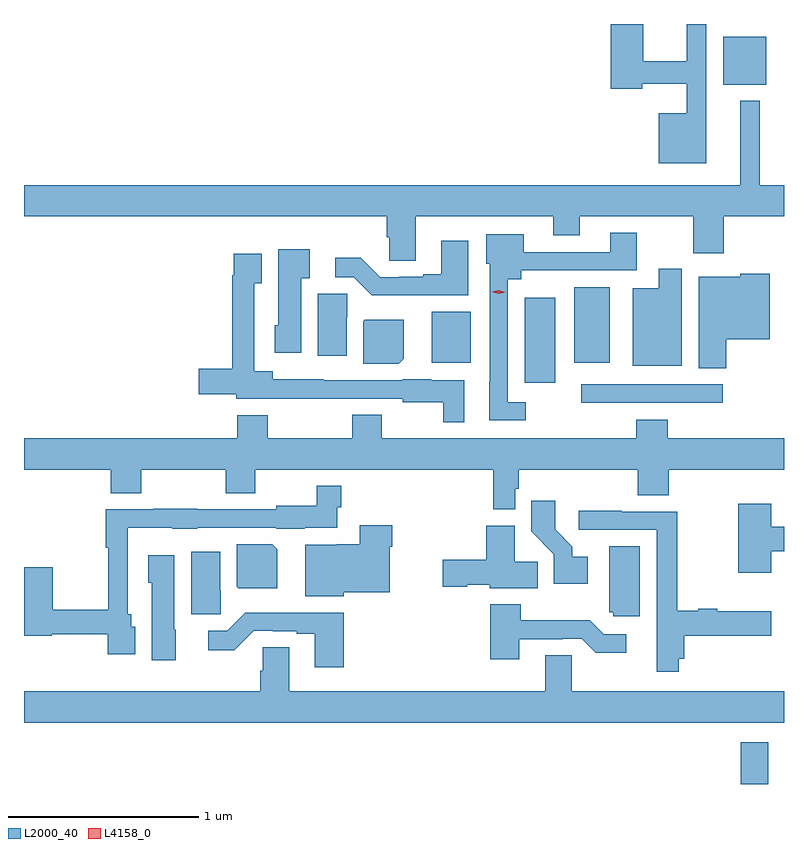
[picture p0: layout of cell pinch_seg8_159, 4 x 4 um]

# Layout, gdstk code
import gdstk
lib = gdstk.Library(unit=1e-6, precision=1e-09)
def R(c, l, rs):  # rectangles x0, y0, x1, y1
    for r in rs: c.add(gdstk.rectangle(r[:2], r[2:], *l))
def P(c, l, *ps):  # polygons
    for p in ps: c.add(gdstk.Polygon(p, *l))
L2000_40 = (2000, 40)
L4158_0 = (4158, 0)

pinch_seg8_159 = lib.new_cell('pinch_seg8_159')
R(pinch_seg8_159, L2000_40, [(726.788,1140.153,726.934,1140.373), (725.949,1142.16,726.694,1142.256), (725.651,1142.265,725.812,1142.713), (725.162,1142.369,725.368,1142.638), (725.912,1142.369,726.1,1142.767), (726.695,1143.833,726.922,1144.087)])
P(pinch_seg8_159, L2000_40, [(726.607,1144.153),(726.503,1144.153),(726.503,1143.956),(726.274,1143.956),(726.274,1144.153),(726.104,1144.153),(726.104,1143.812),(726.27,1143.812),(726.27,1143.839),(726.503,1143.839),(726.503,1143.682),(726.356,1143.682),(726.356,1143.419),(726.607,1143.419)],
  [(723.016,1143.14),(724.925,1143.14),(724.925,1143.03),(724.938,1143.03),(724.938,1142.908),(725.077,1142.908),(725.077,1143.14),(725.801,1143.14),(725.801,1143.041),(725.941,1143.041),(725.941,1143.14),(726.538,1143.14),(726.538,1142.946),(726.698,1142.946),(726.698,1143.14),(727.016,1143.14),(727.016,1143.304),(726.889,1143.304),(726.889,1143.748),(726.785,1143.748),(726.785,1143.304),(723.016,1143.304)],
  [(725.656,1142.163),(725.562,1142.163),(725.562,1142.81),(725.632,1142.81),(725.632,1142.856),(726.241,1142.856),(726.241,1143.055),(726.101,1143.055),(726.101,1142.952),(725.647,1142.952),(725.647,1143.046),(725.45,1143.046),(725.45,1142.892),(725.466,1142.892),(725.466,1142.27),(725.465,1142.27),(725.465,1142.067),(725.656,1142.067)],
  [(725.353,1143.013),(725.213,1143.013),(725.213,1142.836),(725.117,1142.836),(725.117,1142.823),(724.99,1142.823),(724.99,1142.82),(724.89,1142.82),(724.788,1142.923),(724.653,1142.923),(724.653,1142.82),(724.752,1142.82),(724.847,1142.726),(725.353,1142.726)],
  [(724.474,1142.814),(724.519,1142.814),(724.519,1142.968),(724.355,1142.968),(724.355,1142.568),(724.337,1142.568),(724.337,1142.424),(724.474,1142.424)],
  [(725.332,1142.278),(725.16,1142.278),(725.16,1142.284),(725.01,1142.284),(725.01,1142.277),(724.593,1142.277),(724.593,1142.284),(724.324,1142.284),(724.324,1142.326),(724.227,1142.326),(724.227,1142.788),(724.267,1142.788),(724.267,1142.944),(724.119,1142.944),(724.119,1142.831),(724.111,1142.831),(724.111,1142.339),(723.936,1142.339),(723.936,1142.204),(724.134,1142.204),(724.134,1142.181),(724.361,1142.181),(724.361,1142.18),(724.593,1142.18),(724.593,1142.181),(725.01,1142.181),(725.01,1142.162),(725.223,1142.162),(725.223,1142.057),(725.332,1142.057)],
  [(726.478,1142.866),(726.356,1142.866),(726.356,1142.761),(726.221,1142.761),(726.221,1142.354),(726.478,1142.354)],
  [(726.713,1142.495),(726.94,1142.495),(726.94,1142.839),(726.786,1142.839),(726.786,1142.824),(726.566,1142.824),(726.566,1142.341),(726.713,1142.341)],
  [(724.714,1142.61),(724.718,1142.61),(724.718,1142.733),(724.562,1142.733),(724.562,1142.406),(724.714,1142.406)],
  [(725.014,1142.392),(725.014,1142.596),(724.81,1142.596),(724.802,1142.588),(724.802,1142.366),(724.988,1142.366)],
  [(725.601,1141.707),(725.621,1141.707),(725.621,1141.808),(726.245,1141.808),(726.245,1141.672),(726.41,1141.672),(726.41,1141.808),(727.016,1141.808),(727.016,1141.972),(726.404,1141.972),(726.404,1142.071),(726.239,1142.071),(726.239,1141.972),(724.899,1141.972),(724.899,1142.096),(724.744,1142.096),(724.744,1141.972),(724.299,1141.972),(724.299,1142.095),(724.139,1142.095),(724.139,1141.972),(723.016,1141.972),(723.016,1141.808),(723.473,1141.808),(723.473,1141.684),(723.633,1141.684),(723.633,1141.808),(724.078,1141.808),(724.078,1141.684),(724.233,1141.684),(724.233,1141.808),(725.485,1141.808),(725.485,1141.598),(725.601,1141.598)],
  [(723.601,1140.981),(723.58,1140.981),(723.58,1141.047),(723.561,1141.047),(723.561,1141.502),(723.795,1141.502),(723.795,1141.496),(723.927,1141.496),(723.927,1141.503),(724.344,1141.503),(724.344,1141.496),(724.494,1141.496),(724.494,1141.502),(724.665,1141.502),(724.665,1141.61),(724.685,1141.61),(724.685,1141.723),(724.557,1141.723),(724.557,1141.618),(724.344,1141.618),(724.344,1141.599),(723.927,1141.599),(723.927,1141.601),(723.695,1141.601),(723.695,1141.599),(723.445,1141.599),(723.445,1141.396),(723.46,1141.396),(723.46,1141.07),(723.166,1141.07),(723.166,1141.294),(723.016,1141.294),(723.016,1140.934),(723.162,1140.934),(723.162,1140.942),(723.457,1140.942),(723.457,1140.837),(723.601,1140.837)],
  [(725.983,1141.348),(725.902,1141.348),(725.902,1141.403),(725.812,1141.493),(725.812,1141.645),(725.686,1141.645),(725.686,1141.482),(725.805,1141.363),(725.805,1141.208),(725.983,1141.208)],
  [(726.948,1141.378),(727.016,1141.378),(727.016,1141.507),(726.948,1141.507),(726.948,1141.627),(726.775,1141.627),(726.775,1141.266),(726.948,1141.266)],
  [(726.461,1140.812),(726.491,1140.812),(726.491,1140.934),(726.949,1140.934),(726.949,1141.063),(726.664,1141.063),(726.664,1141.076),(726.564,1141.076),(726.564,1141.064),(726.454,1141.064),(726.454,1141.587),(726.161,1141.587),(726.161,1141.59),(725.937,1141.59),(725.937,1141.491),(726.345,1141.491),(726.345,1140.744),(726.461,1140.744)],
  [(724.698,1141.163),(724.942,1141.163),(724.942,1141.403),(724.955,1141.403),(724.955,1141.516),(724.784,1141.516),(724.784,1141.414),(724.662,1141.414),(724.662,1141.412),(724.496,1141.412),(724.496,1141.142),(724.698,1141.142)],
  [(725.72,1141.322),(725.599,1141.322),(725.599,1141.513),(725.45,1141.513),(725.45,1141.332),(725.22,1141.332),(725.22,1141.19),(725.349,1141.19),(725.349,1141.202),(725.466,1141.202),(725.466,1141.184),(725.72,1141.184)],
  [(724.348,1141.388),(724.322,1141.414),(724.136,1141.414),(724.136,1141.192),(724.144,1141.184),(724.348,1141.184)],
  [(726.256,1141.405),(726.095,1141.405),(726.095,1141.056),(726.117,1141.056),(726.117,1141.035),(726.256,1141.035)],
  [(724.052,1141.17),(724.048,1141.17),(724.048,1141.375),(723.896,1141.375),(723.896,1141.047),(724.052,1141.047)],
  [(723.814,1140.966),(723.808,1140.966),(723.808,1141.357),(723.671,1141.357),(723.671,1141.212),(723.689,1141.212),(723.689,1140.804),(723.814,1140.804)],
  [(725.623,1140.915),(725.852,1140.915),(725.852,1140.918),(725.952,1140.918),(726.025,1140.845),(726.187,1140.845),(726.187,1140.942),(726.066,1140.942),(725.993,1141.015),(725.631,1141.015),(725.631,1141.099),(725.471,1141.099),(725.471,1140.81),(725.623,1140.81)],
  [(724.7,1141.055),(724.181,1141.055),(724.086,1140.96),(723.987,1140.96),(723.987,1140.858),(724.122,1140.858),(724.224,1140.96),(724.324,1140.96),(724.324,1140.957),(724.451,1140.957),(724.451,1140.945),(724.547,1140.945),(724.547,1140.768),(724.7,1140.768)],
  [(727.016,1140.64),(725.898,1140.64),(725.898,1140.83),(725.759,1140.83),(725.759,1140.64),(724.411,1140.64),(724.411,1140.872),(724.272,1140.872),(724.272,1140.75),(724.259,1140.75),(724.259,1140.64),(723.016,1140.64),(723.016,1140.476),(727.016,1140.476)])
P(pinch_seg8_159, L4158_0, [(725.514,1142.732),(725.478,1142.743),(725.478,1142.743),(725.478,1142.744),(725.515,1142.752),(725.55,1142.741),(725.551,1142.741),(725.55,1142.74)])

lib.write_gds('pinch_seg8_159.gds')
